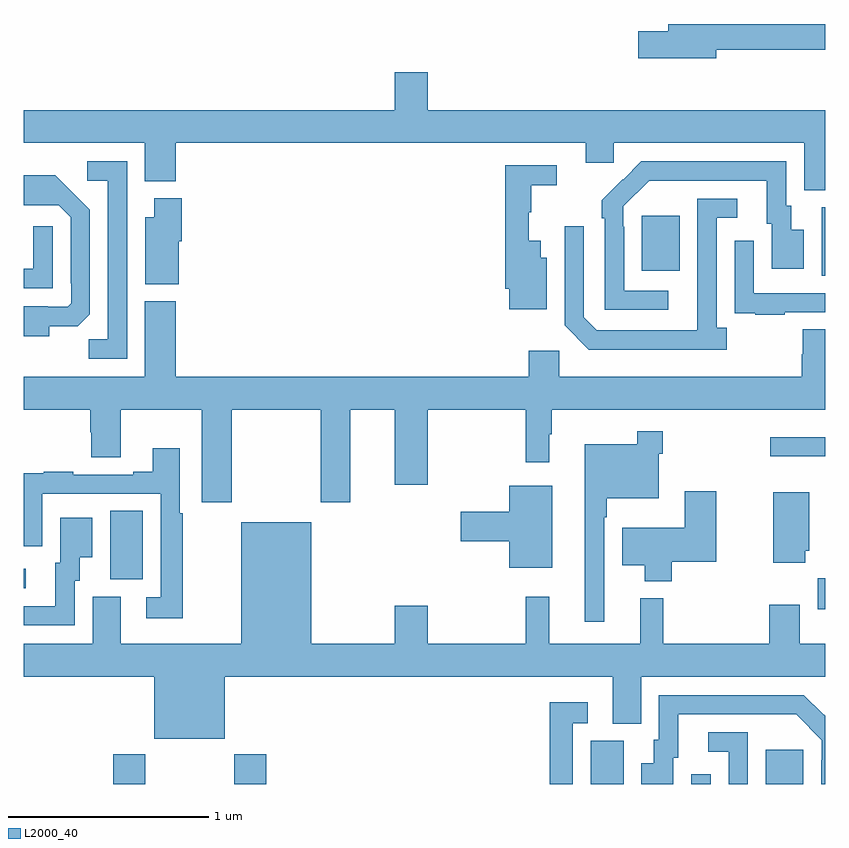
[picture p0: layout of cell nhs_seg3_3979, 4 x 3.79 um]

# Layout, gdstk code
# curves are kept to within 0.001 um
import gdstk
lib = gdstk.Library(unit=1e-6, precision=1e-09)
def R(c, l, rs):  # rectangles x0, y0, x1, y1
    for r in rs: c.add(gdstk.rectangle(r[:2], r[2:], *l))
def P(c, l, *ps):  # polygons
    for p in ps: c.add(gdstk.Polygon(p, *l))
L2000_40 = (2000, 40)

nhs_seg3_3979 = lib.new_cell('nhs_seg3_3979')
R(nhs_seg3_3979, L2000_40, [(319.445,680.4,319.605,680.548), (320.05,680.4,320.21,680.548), (321.83,680.4,321.994,680.616), (322.332,680.4,322.428,680.449), (322.703,680.4,322.891,680.572), (322.964,681.272,323,681.426), (319,681.378,319.009,681.474), (319.43,681.421,319.594,681.764), (322.725,682.035,323,682.132), (322.982,682.936,323,683.28), (322.085,682.961,322.273,683.236)])
P(nhs_seg3_3979, L2000_40, [(322.456,684.066),(323,684.066),(323,684.194),(322.217,684.194),(322.217,684.158),(322.068,684.158),(322.068,684.023),(322.456,684.023)],
  [(323,683.764),(321.016,683.764),(321.016,683.953),(320.852,683.953),(320.852,683.764),(319,683.764),(319,683.6),(319.604,683.6),(319.604,683.408),(319.757,683.408),(319.757,683.6),(321.806,683.6),(321.806,683.502),(321.945,683.502),(321.945,683.6),(322.895,683.6),(322.895,683.365),(323,683.365)],
  [(322.216,682.863),(321.996,682.863),(321.996,683.183),(321.993,683.183),(321.993,683.283),(322.122,683.412),(322.709,683.412),(322.709,683.196),(322.733,683.196),(322.733,682.971),(322.894,682.971),(322.894,683.167),(322.831,683.167),(322.831,683.286),(322.806,683.286),(322.806,683.508),(322.082,683.508),(321.885,683.313),(321.885,683.225),(321.9,683.225),(321.9,682.767),(322.216,682.767)],
  [(319.515,683.508),(319.317,683.508),(319.317,683.412),(319.419,683.412),(319.419,682.619),(319.324,682.619),(319.324,682.524),(319.515,682.524)],
  [(321.61,683.026),(321.58,683.026),(321.58,683.113),(321.521,683.113),(321.521,683.253),(321.532,683.253),(321.532,683.389),(321.661,683.389),(321.661,683.49),(321.403,683.49),(321.403,682.873),(321.422,682.873),(321.422,682.769),(321.61,682.769)],
  [(319.126,682.685),(319.27,682.685),(319.329,682.744),(319.329,683.266),(319.157,683.44),(319,683.44),(319,683.288),(319.173,683.289),(319.233,683.229),(319.233,682.9),(319.236,682.9),(319.236,682.8),(319.218,682.782),(319.118,682.782),(319.118,682.786),(319,682.786),(319,682.634),(319.126,682.634)],
  [(319.774,683.109),(319.787,683.109),(319.787,683.323),(319.652,683.323),(319.652,683.23),(319.607,683.23),(319.607,682.895),(319.774,682.895)],
  [(322.51,682.678),(322.458,682.678),(322.458,683.226),(322.561,683.226),(322.561,683.322),(322.362,683.322),(322.361,682.665),(321.861,682.665),(321.795,682.731),(321.795,683.185),(321.699,683.185),(321.699,682.689),(321.82,682.568),(322.51,682.568)],
  [(319.143,683.185),(319.047,683.185),(319.047,682.971),(319,682.971),(319,682.875),(319.143,682.875)],
  [(322.799,682.755),(323,682.755),(323,682.851),(322.644,682.851),(322.644,683.113),(322.548,683.113),(322.548,682.858),(322.549,682.858),(322.549,682.749),(322.651,682.749),(322.651,682.743),(322.799,682.743)],
  [(319.757,682.81),(319.604,682.81),(319.604,682.432),(319,682.432),(319,682.268),(319.331,682.268),(319.331,682.155),(319.336,682.155),(319.336,682.03),(319.483,682.03),(319.483,682.268),(319.889,682.268),(319.889,681.807),(320.037,681.807),(320.037,682.268),(320.482,682.268),(320.482,681.807),(320.629,681.807),(320.629,682.268),(320.852,682.268),(320.852,681.894),(321.016,681.894),(321.016,682.268),(321.505,682.268),(321.505,682.005),(321.622,682.005),(321.622,682.145),(321.634,682.145),(321.634,682.268),(323,682.268),(323,682.67),(322.888,682.67),(322.888,682.545),(322.883,682.545),(322.883,682.432),(321.672,682.432),(321.672,682.564),(321.521,682.564),(321.521,682.432),(319.757,682.432)],
  [(321.897,681.731),(321.91,681.731),(321.91,681.827),(322.17,681.827),(322.17,682.049),(322.19,682.049),(322.19,682.162),(322.062,682.162),(322.062,682.096),(321.8,682.096),(321.8,681.21),(321.897,681.21)],
  [(319.792,681.752),(319.779,681.752),(319.779,682.075),(319.643,682.075),(319.643,681.958),(319.547,681.958),(319.547,681.945),(319.247,681.945),(319.247,681.958),(319.099,681.958),(319.099,681.951),(319,681.951),(319,681.588),(319.092,681.588),(319.092,681.849),(319.683,681.849),(319.683,681.333),(319.611,681.333),(319.611,681.228),(319.792,681.228)],
  [(321.637,681.889),(321.422,681.889),(321.422,681.758),(321.18,681.758),(321.18,681.611),(321.422,681.611),(321.422,681.479),(321.637,681.479)],
  [(322.235,681.509),(322.456,681.509),(322.456,681.862),(322.298,681.862),(322.298,681.679),(321.986,681.679),(321.986,681.491),(322.1,681.491),(322.1,681.413),(322.235,681.413)],
  [(322.9,681.564),(322.921,681.564),(322.921,681.856),(322.742,681.856),(322.742,681.504),(322.9,681.504)],
  [(319.254,681.414),(319.279,681.414),(319.279,681.533),(319.342,681.533),(319.342,681.73),(319.181,681.73),(319.181,681.504),(319.157,681.504),(319.157,681.288),(319,681.288),(319,681.192),(319.254,681.192)],
  [(320.002,680.936),(321.941,680.936),(321.941,680.701),(322.081,680.701),(322.081,680.936),(323,680.936),(323,681.1),(322.873,681.1),(322.873,681.295),(322.721,681.295),(322.721,681.1),(322.193,681.1),(322.193,681.328),(322.076,681.328),(322.076,681.1),(321.623,681.1),(321.623,681.334),(321.505,681.334),(321.505,681.1),(321.016,681.1),(321.016,681.289),(320.852,681.289),(320.852,681.1),(320.434,681.1),(320.434,681.706),(320.084,681.706),(320.084,681.1),(319.483,681.1),(319.483,681.336),(319.343,681.336),(319.343,681.1),(319,681.1),(319,680.936),(319.652,680.936),(319.652,680.627),(320.002,680.627)],
  [(322.243,680.532),(322.267,680.532),(322.267,680.748),(322.855,680.748),(322.983,680.619),(322.983,680.519),(322.98,680.519),(322.98,680.4),(323,680.4),(323,680.74),(322.986,680.754),(322.985,680.753),(322.894,680.844),(322.17,680.844),(322.17,680.622),(322.145,680.622),(322.145,680.503),(322.082,680.503),(322.082,680.4),(322.243,680.4)],
  [(321.741,680.703),(321.814,680.703),(321.814,680.809),(321.625,680.809),(321.625,680.4),(321.741,680.4)],
  [(322.614,680.658),(322.416,680.658),(322.416,680.562),(322.518,680.562),(322.518,680.4),(322.614,680.4)])

lib.write_gds('nhs_seg3_3979.gds')
